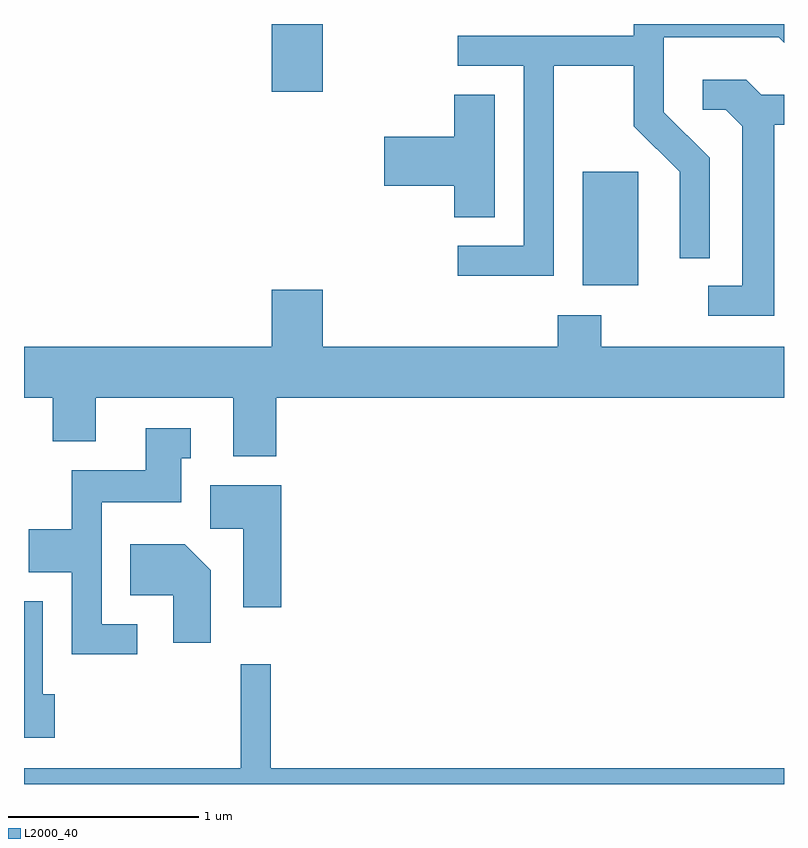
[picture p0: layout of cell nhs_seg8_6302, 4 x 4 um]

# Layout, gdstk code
import gdstk
lib = gdstk.Library(unit=1e-6, precision=1e-09)
def R(c, l, rs):  # rectangles x0, y0, x1, y1
    for r in rs: c.add(gdstk.rectangle(r[:2], r[2:], *l))
def P(c, l, *ps):  # polygons
    for p in ps: c.add(gdstk.Polygon(p, *l))
L2000_40 = (2000, 40)

nhs_seg8_6302 = lib.new_cell('nhs_seg8_6302')
R(nhs_seg8_6302, L2000_40, [(376.551,1876.966,376.844,1877.564), (374.916,1877.986,375.184,1878.342)])
P(nhs_seg8_6302, L2000_40, [(376.399,1878.121),(376.821,1878.121),(376.821,1877.804),(377.061,1877.564),(377.061,1877.108),(377.219,1877.108),(377.219,1877.637),(376.979,1877.877),(376.979,1878.271),(377.584,1878.271),(377.611,1878.244),(377.611,1878.342),(376.821,1878.342),(376.821,1878.279),(375.893,1878.279),(375.893,1878.121),(376.241,1878.121),(376.241,1877.174),(375.893,1877.174),(375.893,1877.016),(376.399,1877.016)],
  [(377.559,1877.811),(377.611,1877.811),(377.611,1877.969),(377.492,1877.969),(377.412,1878.049),(377.183,1878.049),(377.183,1877.891),(377.304,1877.891),(377.391,1877.804),(377.391,1876.964),(377.213,1876.964),(377.213,1876.806),(377.559,1876.806)],
  [(376.089,1877.969),(375.876,1877.969),(375.876,1877.749),(375.506,1877.749),(375.506,1877.491),(375.876,1877.491),(375.876,1877.326),(376.089,1877.326)],
  [(374.939,1876.376),(377.611,1876.376),(377.611,1876.644),(376.649,1876.644),(376.649,1876.809),(376.421,1876.809),(376.421,1876.644),(375.184,1876.644),(375.184,1876.944),(374.916,1876.944),(374.916,1876.644),(373.611,1876.644),(373.611,1876.376),(373.761,1876.376),(373.761,1876.146),(373.989,1876.146),(373.989,1876.376),(374.711,1876.376),(374.711,1876.066),(374.939,1876.066)],
  [(374.208,1875.184),(374.019,1875.184),(374.019,1875.826),(374.439,1875.826),(374.439,1876.056),(374.488,1876.056),(374.488,1876.214),(374.251,1876.214),(374.251,1875.994),(373.861,1875.994),(373.861,1875.684),(373.636,1875.684),(373.636,1875.456),(373.861,1875.456),(373.861,1875.026),(374.208,1875.026)],
  [(374.964,1875.914),(374.591,1875.914),(374.591,1875.686),(374.766,1875.686),(374.766,1875.271),(374.964,1875.271)],
  [(374.594,1875.467),(374.457,1875.604),(374.171,1875.604),(374.171,1875.336),(374.396,1875.336),(374.396,1875.086),(374.594,1875.086)],
  [(373.774,1874.814),(373.709,1874.814),(373.709,1875.304),(373.611,1875.304),(373.611,1874.586),(373.774,1874.586)],
  [(377.611,1874.424),(374.909,1874.424),(374.909,1874.973),(374.751,1874.973),(374.751,1874.424),(373.611,1874.424),(373.611,1874.342),(377.611,1874.342)])

lib.write_gds('nhs_seg8_6302.gds')
